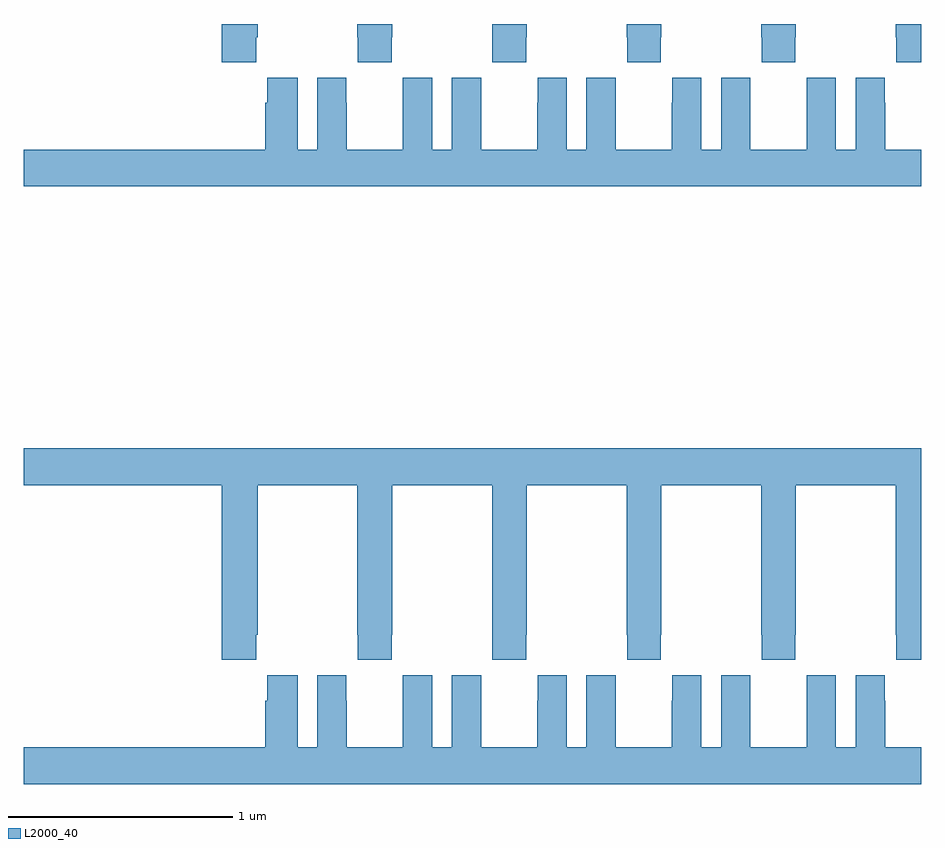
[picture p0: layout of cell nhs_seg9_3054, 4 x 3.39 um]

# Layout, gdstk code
import gdstk
lib = gdstk.Library(unit=1e-6, precision=1e-09)
def P(c, l, *ps):  # polygons
    for p in ps: c.add(gdstk.Polygon(p, *l))
L2000_40 = (2000, 40)

nhs_seg9_3054 = lib.new_cell('nhs_seg9_3054')
P(nhs_seg9_3054, L2000_40, [(288.639,1174.441),(288.642,1174.441),(288.642,1174.5),(288.487,1174.5),(288.487,1174.441),(288.489,1174.441),(288.489,1174.329),(288.639,1174.329)],
  [(289.239,1174.441),(289.242,1174.441),(289.242,1174.5),(289.087,1174.5),(289.087,1174.441),(289.089,1174.441),(289.089,1174.329),(289.239,1174.329)],
  [(289.839,1174.441),(289.842,1174.441),(289.842,1174.5),(289.687,1174.5),(289.687,1174.441),(289.689,1174.441),(289.689,1174.329),(289.839,1174.329)],
  [(290.439,1174.441),(290.442,1174.441),(290.442,1174.5),(290.287,1174.5),(290.287,1174.441),(290.289,1174.441),(290.289,1174.329),(290.439,1174.329)],
  [(291,1174.5),(290.887,1174.5),(290.887,1174.441),(290.889,1174.441),(290.889,1174.329),(291,1174.329)],
  [(288.035,1174.441),(288.042,1174.441),(288.042,1174.5),(287.882,1174.5),(287.882,1174.329),(288.035,1174.329)],
  [(291,1173.94),(290.839,1173.94),(290.839,1174.148),(290.838,1174.148),(290.838,1174.261),(290.708,1174.261),(290.708,1173.94),(290.62,1173.94),(290.62,1174.261),(290.49,1174.261),(290.49,1174.148),(290.489,1174.148),(290.489,1173.94),(290.239,1173.94),(290.239,1174.148),(290.238,1174.148),(290.238,1174.261),(290.108,1174.261),(290.108,1173.94),(290.02,1173.94),(290.02,1174.261),(289.89,1174.261),(289.89,1174.148),(289.889,1174.148),(289.889,1173.94),(289.639,1173.94),(289.639,1174.148),(289.638,1174.148),(289.638,1174.261),(289.508,1174.261),(289.508,1173.94),(289.42,1173.94),(289.42,1174.261),(289.29,1174.261),(289.29,1174.148),(289.289,1174.148),(289.289,1173.94),(289.039,1173.94),(289.039,1174.148),(289.038,1174.148),(289.038,1174.261),(288.908,1174.261),(288.908,1173.94),(288.82,1173.94),(288.82,1174.261),(288.69,1174.261),(288.69,1174.148),(288.689,1174.148),(288.689,1173.94),(288.439,1173.94),(288.439,1174.148),(288.438,1174.148),(288.438,1174.261),(288.308,1174.261),(288.308,1173.94),(288.22,1173.94),(288.22,1174.261),(288.086,1174.261),(288.086,1174.148),(288.077,1174.148),(288.077,1173.94),(287,1173.94),(287,1173.776),(291,1173.776)],
  [(287,1172.444),(287.882,1172.444),(287.882,1171.665),(288.035,1171.665),(288.035,1171.777),(288.042,1171.777),(288.042,1172.444),(288.487,1172.444),(288.487,1171.777),(288.489,1171.777),(288.489,1171.665),(288.639,1171.665),(288.639,1171.777),(288.642,1171.777),(288.642,1172.444),(289.087,1172.444),(289.087,1171.777),(289.089,1171.777),(289.089,1171.665),(289.239,1171.665),(289.239,1171.777),(289.242,1171.777),(289.242,1172.444),(289.687,1172.444),(289.687,1171.777),(289.689,1171.777),(289.689,1171.665),(289.839,1171.665),(289.839,1171.777),(289.842,1171.777),(289.842,1172.444),(290.287,1172.444),(290.287,1171.777),(290.289,1171.777),(290.289,1171.665),(290.439,1171.665),(290.439,1171.777),(290.442,1171.777),(290.442,1172.444),(290.887,1172.444),(290.887,1171.777),(290.889,1171.777),(290.889,1171.665),(291,1171.665),(291,1172.608),(287,1172.608)],
  [(291,1171.276),(290.839,1171.276),(290.839,1171.484),(290.838,1171.484),(290.838,1171.597),(290.708,1171.597),(290.708,1171.276),(290.62,1171.276),(290.62,1171.597),(290.49,1171.597),(290.49,1171.484),(290.489,1171.484),(290.489,1171.276),(290.239,1171.276),(290.239,1171.484),(290.238,1171.484),(290.238,1171.597),(290.108,1171.597),(290.108,1171.276),(290.02,1171.276),(290.02,1171.597),(289.89,1171.597),(289.89,1171.484),(289.889,1171.484),(289.889,1171.276),(289.639,1171.276),(289.639,1171.484),(289.638,1171.484),(289.638,1171.597),(289.508,1171.597),(289.508,1171.276),(289.42,1171.276),(289.42,1171.597),(289.29,1171.597),(289.29,1171.484),(289.289,1171.484),(289.289,1171.276),(289.039,1171.276),(289.039,1171.484),(289.038,1171.484),(289.038,1171.597),(288.908,1171.597),(288.908,1171.276),(288.82,1171.276),(288.82,1171.597),(288.69,1171.597),(288.69,1171.484),(288.689,1171.484),(288.689,1171.276),(288.439,1171.276),(288.439,1171.484),(288.438,1171.484),(288.438,1171.597),(288.308,1171.597),(288.308,1171.276),(288.22,1171.276),(288.22,1171.597),(288.086,1171.597),(288.086,1171.484),(288.077,1171.484),(288.077,1171.276),(287,1171.276),(287,1171.112),(291,1171.112)])

lib.write_gds('nhs_seg9_3054.gds')
